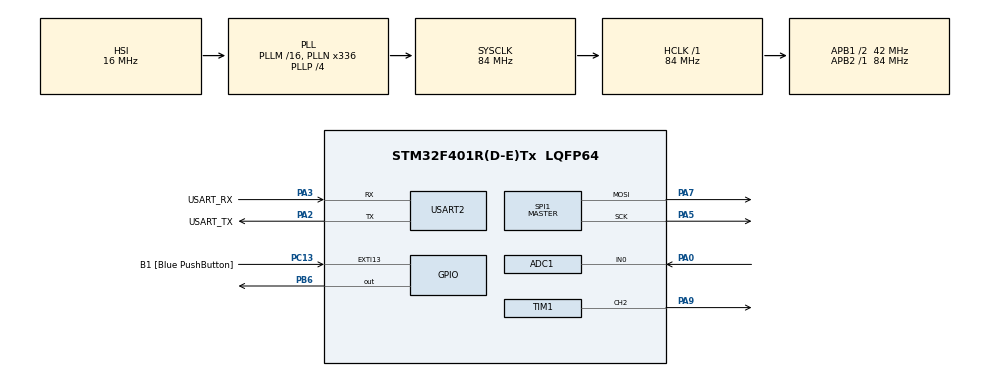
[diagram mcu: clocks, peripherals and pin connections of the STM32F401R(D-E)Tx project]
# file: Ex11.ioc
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ADC1.Channel-0\#ChannelRegularConversion=ADC_CHANNEL_0
ADC1.ContinuousConvMode=DISABLE
ADC1.DMAContinuousRequests=ENABLE
ADC1.ExternalTrigConv=ADC_EXTERNALTRIGCONV_T3_TRGO
ADC1.NbrOfConversionFlag=1
ADC1.Rank-0\#ChannelRegularConversion=1
ADC1.SamplingTime-0\#ChannelRegularConversion=ADC_SAMPLETIME_480CYCLES
ADC1.master=1
Dma.ADC1.0.Direction=DMA_PERIPH_TO_MEMORY
Dma.ADC1.0.FIFOMode=DMA_FIFOMODE_DISABLE
Dma.ADC1.0.Instance=DMA2_Stream0
Dma.ADC1.0.MemDataAlignment=DMA_MDATAALIGN_HALFWORD
Dma.ADC1.0.MemInc=DMA_MINC_ENABLE
Dma.ADC1.0.Mode=DMA_CIRCULAR
Dma.ADC1.0.PeriphDataAlignment=DMA_PDATAALIGN_HALFWORD
Dma.ADC1.0.PeriphInc=DMA_PINC_DISABLE
Dma.ADC1.0.Priority=DMA_PRIORITY_LOW
Dma.Request0=ADC1
Dma.Request1=SPI1_TX
Dma.SPI1_TX.1.Direction=DMA_MEMORY_TO_PERIPH
Dma.SPI1_TX.1.FIFOMode=DMA_FIFOMODE_DISABLE
Dma.SPI1_TX.1.Instance=DMA2_Stream3
Dma.SPI1_TX.1.MemDataAlignment=DMA_MDATAALIGN_BYTE
Dma.SPI1_TX.1.MemInc=DMA_MINC_ENABLE
Dma.SPI1_TX.1.Mode=DMA_NORMAL
Dma.SPI1_TX.1.PeriphDataAlignment=DMA_PDATAALIGN_BYTE
Dma.SPI1_TX.1.PeriphInc=DMA_PINC_DISABLE
Dma.SPI1_TX.1.Priority=DMA_PRIORITY_LOW
Mcu.Family=STM32F4
Mcu.Name=STM32F401R(D-E)Tx
Mcu.Package=LQFP64
NVIC.ADC_IRQn=true\:0\:0\:false\:false\:true\:true\:true\:true
NVIC.DMA2_Stream0_IRQn=true\:0\:0\:false\:false\:true\:false\:true\:true
NVIC.DMA2_Stream3_IRQn=true\:0\:0\:false\:false\:true\:false\:true\:true
NVIC.PriorityGroup=NVIC_PRIORITYGROUP_0
NVIC.SPI1_IRQn=true\:0\:0\:false\:false\:true\:true\:true\:true
NVIC.TIM1_TRG_COM_TIM11_IRQn=true\:0\:0\:false\:false\:true\:true\:true\:true
NVIC.TIM1_UP_TIM10_IRQn=true\:0\:0\:false\:false\:true\:true\:true\:true
PA0-WKUP.Signal=ADCx_IN0
PA13.GPIO_Label=TMS
PA13.Mode=Serial_Wire
PA13.Signal=SYS_JTMS-SWDIO
PA14.GPIO_Label=TCK
PA14.Mode=Serial_Wire
PA14.Signal=SYS_JTCK-SWCLK
PA2.GPIO_Label=USART_TX
PA2.GPIO_Mode=GPIO_MODE_AF_PP
PA2.GPIO_PuPd=GPIO_NOPULL
PA2.GPIO_Speed=GPIO_SPEED_FREQ_LOW
PA2.Mode=Asynchronous
PA2.Signal=USART2_TX
PA3.GPIO_Label=USART_RX
PA3.GPIO_Mode=GPIO_MODE_AF_PP
PA3.GPIO_PuPd=GPIO_NOPULL
PA3.GPIO_Speed=GPIO_SPEED_FREQ_LOW
PA3.Mode=Asynchronous
PA3.Signal=USART2_RX
PA5.Mode=TX_Only_Simplex_Unidirect_Master
PA5.Signal=SPI1_SCK
PA6.Signal=SPI1_MISO
PA7.Mode=TX_Only_Simplex_Unidirect_Master
PA7.Signal=SPI1_MOSI
PA9.Signal=S_TIM1_CH2
PB3.GPIO_Label=SWO
PB3.Signal=SYS_JTDO-SWO
PB6.Signal=GPIO_Output
PC13-ANTI_TAMP.GPIO_Label=B1 [Blue PushButton]
PC13-ANTI_TAMP.GPIO_ModeDefaultEXTI=GPIO_MODE_IT_FALLING
PC13-ANTI_TAMP.GPIO_PuPd=GPIO_NOPULL
PC13-ANTI_TAMP.Signal=GPXTI13
PC14-OSC32_IN.Mode=LSE-External-Oscillator
PC14-OSC32_IN.Signal=RCC_OSC32_IN
PC15-OSC32_OUT.Mode=LSE-External-Oscillator
PC15-OSC32_OUT.Signal=RCC_OSC32_OUT
PH0\ -\ OSC_IN.Mode=HSE-External-Clock-Source
PH0\ -\ OSC_IN.Signal=RCC_OSC_IN
PH1\ -\ OSC_OUT.Mode=HSE-External-Clock-Source
PH1\ -\ OSC_OUT.Signal=RCC_OSC_OUT
ProjectManager.HeapSize=0x200
ProjectManager.StackSize=0x400
ProjectManager.TargetToolchain=STM32CubeIDE
RCC.48MHZClocksFreq_Value=48000000
RCC.AHBFreq_Value=84000000
RCC.APB1CLKDivider=RCC_HCLK_DIV2
RCC.APB1Freq_Value=42000000
RCC.APB1TimFreq_Value=84000000
RCC.APB2Freq_Value=84000000
RCC.APB2TimFreq_Value=84000000
RCC.CortexFreq_Value=84000000
RCC.HCLKFreq_Value=84000000
RCC.HSE_VALUE=8000000
RCC.HSI_VALUE=16000000
RCC.PLLN=336
RCC.PLLP=RCC_PLLP_DIV4
RCC.PLLQ=7
RCC.SYSCLKFreq_VALUE=84000000
RCC.SYSCLKSource=RCC_SYSCLKSOURCE_PLLCLK
RCC.VCOOutputFreq_Value=336000000
SH.ADCx_IN0.0=ADC1_IN0,IN0
SH.S_TIM1_CH2.0=TIM1_CH2,PWM Generation2 CH2
SPI1.BaudRatePrescaler=SPI_BAUDRATEPRESCALER_4
SPI1.Direction=SPI_DIRECTION_2LINES
SPI1.Mode=SPI_MODE_MASTER
SPI1.VirtualType=VM_MASTER
TIM1.Channel-PWM\ Generation2\ CH2=TIM_CHANNEL_2
TIM1.Period=10000-1
TIM1.Prescaler=8400-1
TIM10.Period=4000-1
TIM10.Prescaler=84-1
TIM11.Period=10000-1
TIM11.Prescaler=8400-1
TIM3.Period=10-1
TIM3.Prescaler=8400-1
TIM3.TIM_MasterOutputTrigger=TIM_TRGO_UPDATE
USART2.VirtualMode=VM_ASYNC
VP_TIM10_VS_ClockSourceINT.Mode=Enable_Timer
VP_TIM11_VS_ClockSourceINT.Mode=Enable_Timer
VP_TIM1_VS_ClockSourceINT.Mode=Internal
VP_TIM3_VS_ClockSourceINT.Mode=Internal
board=NUCLEO-F401RE

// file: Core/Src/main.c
/* USER CODE BEGIN Header */
/**
  ******************************************************************************
  * @file           : main.c
  * @brief          : Main program body
  ******************************************************************************
  * @attention
  *
  * Copyright (c) 2023 STMicroelectronics.
  * All rights reserved.
  *
  * This software is licensed under terms that can be found in the LICENSE file
  * in the root directory of this software component.
  * If no LICENSE file comes with this software, it is provided AS-IS.
  *
  ******************************************************************************
  */
/* USER CODE END Header */
#include "main.h"

/* USER CODE BEGIN Includes */
#include <math.h>
/* USER CODE END Includes */

/* USER CODE BEGIN PD */
#define RCLK_PIN GPIOB, GPIO_PIN_6
/* USER CODE END PD */

ADC_HandleTypeDef hadc1;
DMA_HandleTypeDef hdma_adc1;

SPI_HandleTypeDef hspi1;
DMA_HandleTypeDef hdma_spi1_tx;

TIM_HandleTypeDef htim1;
TIM_HandleTypeDef htim3;
TIM_HandleTypeDef htim10;
TIM_HandleTypeDef htim11;

UART_HandleTypeDef huart2;

/* USER CODE BEGIN PV */
float mean=0;
uint16_t value;
float i=0;
float lux;

int column_index=0;
int j=0;
uint8_t matrix[5][2]={
		{0,16},
		{0,8},
		{0,4},
		{0,2},
		{0,1}
};
uint8_t matrix_L[5][2]={
	{127,16},
	{1,8},
	{1,4},
	{1,2},
	{1,1}
};
uint8_t matrix_D[5][2]={
	{127,16},
	{65,8},
	{65,4},
	{65,2},
	{62,1}
};
/* USER CODE END PV */

void SystemClock_Config(void);
static void MX_GPIO_Init(void);
static void MX_DMA_Init(void);
static void MX_USART2_UART_Init(void);
static void MX_ADC1_Init(void);
static void MX_TIM3_Init(void);
static void MX_TIM1_Init(void);
static void MX_SPI1_Init(void);
static void MX_TIM10_Init(void);
static void MX_TIM11_Init(void);
/* USER CODE BEGIN PFP */
void HAL_TIM_PeriodElapsedCallback(TIM_HandleTypeDef *htim){
	if(htim==&htim11){
		float temp = mean*3.3/4096;
		float ldr = (temp*100)/(3.3-temp);
		lux = 10*pow(100/ldr,1.25);
		char msg[100]="";
		sprintf(msg, "Lux: %f \r\n",lux);
		HAL_UART_Transmit(&huart2, msg, sizeof(msg), 1000);
		i=0;
		mean=0;
		if(lux<250){
			memcpy(matrix, matrix_D, sizeof(matrix));
		}else{
			memcpy(matrix, matrix_L, sizeof(matrix));
		}
	}
	if(htim==&htim10)
		HAL_SPI_Transmit_DMA(&hspi1, matrix[column_index], 2);
}
void HAL_ADC_ConvCpltCallback(ADC_HandleTypeDef* hadc){
	if(hadc == &hadc1){
		i++;
		mean=((mean*(i-1))+value)/i;
	}
}
void HAL_SPI_TxCpltCallback(SPI_HandleTypeDef *hspi){
	if(hspi==&hspi1){
		HAL_GPIO_WritePin(RCLK_PIN, GPIO_PIN_SET);
		if(++column_index>4)
			column_index=0;
		HAL_GPIO_WritePin(RCLK_PIN, GPIO_PIN_RESET);
	}
}

/* USER CODE END PFP */

int main(void)
{

  /* MCU Configuration--------------------------------------------------------*/

  /* Reset of all peripherals, Initializes the Flash interface and the Systick. */
  HAL_Init();

  /* Configure the system clock */
  SystemClock_Config();

  /* Initialize all configured peripherals */
  MX_GPIO_Init();
  MX_DMA_Init();
  MX_USART2_UART_Init();
  MX_ADC1_Init();
  MX_TIM3_Init();
  MX_TIM1_Init();
  MX_SPI1_Init();
  MX_TIM10_Init();
  MX_TIM11_Init();
  /* USER CODE BEGIN 2 */
  HAL_ADC_Start_DMA(&hadc1, &value, 1);
  HAL_TIM_Base_Start(&htim3);
  HAL_TIM_Base_Start_IT(&htim11);
  HAL_TIM_Base_Start_IT(&htim10);
  //HAL_TIM_Base_Start_IT(&htim1);
  /* USER CODE END 2 */

  /* Infinite loop */
  while (1)
  {

  }
}

void SystemClock_Config(void)
{
  RCC_OscInitTypeDef RCC_OscInitStruct = {0};
  RCC_ClkInitTypeDef RCC_ClkInitStruct = {0};

  /** Configure the main internal regulator output voltage
  */
  __HAL_RCC_PWR_CLK_ENABLE();
  __HAL_PWR_VOLTAGESCALING_CONFIG(PWR_REGULATOR_VOLTAGE_SCALE2);

  /** Initializes the RCC Oscillators according to the specified parameters
  * in the RCC_OscInitTypeDef structure.
  */
  RCC_OscInitStruct.OscillatorType = RCC_OSCILLATORTYPE_HSI;
  RCC_OscInitStruct.HSIState = RCC_HSI_ON;
  RCC_OscInitStruct.HSICalibrationValue = RCC_HSICALIBRATION_DEFAULT;
  RCC_OscInitStruct.PLL.PLLState = RCC_PLL_ON;
  RCC_OscInitStruct.PLL.PLLSource = RCC_PLLSOURCE_HSI;
  RCC_OscInitStruct.PLL.PLLM = 16;
  RCC_OscInitStruct.PLL.PLLN = 336;
  RCC_OscInitStruct.PLL.PLLP = RCC_PLLP_DIV4;
  RCC_OscInitStruct.PLL.PLLQ = 7;
  if (HAL_RCC_OscConfig(&RCC_OscInitStruct) != HAL_OK)
  {
    Error_Handler();
  }

  /** Initializes the CPU, AHB and APB buses clocks
  */
  RCC_ClkInitStruct.ClockType = RCC_CLOCKTYPE_HCLK|RCC_CLOCKTYPE_SYSCLK
                              |RCC_CLOCKTYPE_PCLK1|RCC_CLOCKTYPE_PCLK2;
  RCC_ClkInitStruct.SYSCLKSource = RCC_SYSCLKSOURCE_PLLCLK;
  RCC_ClkInitStruct.AHBCLKDivider = RCC_SYSCLK_DIV1;
  RCC_ClkInitStruct.APB1CLKDivider = RCC_HCLK_DIV2;
  RCC_ClkInitStruct.APB2CLKDivider = RCC_HCLK_DIV1;

  if (HAL_RCC_ClockConfig(&RCC_ClkInitStruct, FLASH_LATENCY_2) != HAL_OK)
  {
    Error_Handler();
  }
}

static void MX_ADC1_Init(void)
{

  ADC_ChannelConfTypeDef sConfig = {0};

  /** Configure the global features of the ADC (Clock, Resolution, Data Alignment and number of conversion)
  */
  hadc1.Instance = ADC1;
  hadc1.Init.ClockPrescaler = ADC_CLOCK_SYNC_PCLK_DIV4;
  hadc1.Init.Resolution = ADC_RESOLUTION_12B;
  hadc1.Init.ScanConvMode = DISABLE;
  hadc1.Init.ContinuousConvMode = DISABLE;
  hadc1.Init.DiscontinuousConvMode = DISABLE;
  hadc1.Init.ExternalTrigConvEdge = ADC_EXTERNALTRIGCONVEDGE_RISING;
  hadc1.Init.ExternalTrigConv = ADC_EXTERNALTRIGCONV_T3_TRGO;
  hadc1.Init.DataAlign = ADC_DATAALIGN_RIGHT;
  hadc1.Init.NbrOfConversion = 1;
  hadc1.Init.DMAContinuousRequests = ENABLE;
  hadc1.Init.EOCSelection = ADC_EOC_SINGLE_CONV;
  if (HAL_ADC_Init(&hadc1) != HAL_OK)
  {
    Error_Handler();
  }

  /** Configure for the selected ADC regular channel its corresponding rank in the sequencer and its sample time.
  */
  sConfig.Channel = ADC_CHANNEL_0;
  sConfig.Rank = 1;
  sConfig.SamplingTime = ADC_SAMPLETIME_480CYCLES;
  if (HAL_ADC_ConfigChannel(&hadc1, &sConfig) != HAL_OK)
  {
    Error_Handler();
  }

}

static void MX_SPI1_Init(void)
{

  /* SPI1 parameter configuration*/
  hspi1.Instance = SPI1;
  hspi1.Init.Mode = SPI_MODE_MASTER;
  hspi1.Init.Direction = SPI_DIRECTION_2LINES;
  hspi1.Init.DataSize = SPI_DATASIZE_8BIT;
  hspi1.Init.CLKPolarity = SPI_POLARITY_LOW;
  hspi1.Init.CLKPhase = SPI_PHASE_1EDGE;
  hspi1.Init.NSS = SPI_NSS_SOFT;
  hspi1.Init.BaudRatePrescaler = SPI_BAUDRATEPRESCALER_4;
  hspi1.Init.FirstBit = SPI_FIRSTBIT_MSB;
  hspi1.Init.TIMode = SPI_TIMODE_DISABLE;
  hspi1.Init.CRCCalculation = SPI_CRCCALCULATION_DISABLE;
  hspi1.Init.CRCPolynomial = 10;
  if (HAL_SPI_Init(&hspi1) != HAL_OK)
  {
    Error_Handler();
  }

}

static void MX_TIM1_Init(void)
{

  TIM_ClockConfigTypeDef sClockSourceConfig = {0};
  TIM_MasterConfigTypeDef sMasterConfig = {0};
  TIM_OC_InitTypeDef sConfigOC = {0};
  TIM_BreakDeadTimeConfigTypeDef sBreakDeadTimeConfig = {0};

  htim1.Instance = TIM1;
  htim1.Init.Prescaler = 8400-1;
  htim1.Init.CounterMode = TIM_COUNTERMODE_UP;
  htim1.Init.Period = 10000-1;
  htim1.Init.ClockDivision = TIM_CLOCKDIVISION_DIV1;
  htim1.Init.RepetitionCounter = 0;
  htim1.Init.AutoReloadPreload = TIM_AUTORELOAD_PRELOAD_DISABLE;
  if (HAL_TIM_Base_Init(&htim1) != HAL_OK)
  {
    Error_Handler();
  }
  sClockSourceConfig.ClockSource = TIM_CLOCKSOURCE_INTERNAL;
  if (HAL_TIM_ConfigClockSource(&htim1, &sClockSourceConfig) != HAL_OK)
  {
    Error_Handler();
  }
  if (HAL_TIM_PWM_Init(&htim1) != HAL_OK)
  {
    Error_Handler();
  }
  sMasterConfig.MasterOutputTrigger = TIM_TRGO_RESET;
  sMasterConfig.MasterSlaveMode = TIM_MASTERSLAVEMODE_DISABLE;
  if (HAL_TIMEx_MasterConfigSynchronization(&htim1, &sMasterConfig) != HAL_OK)
  {
    Error_Handler();
  }
  sConfigOC.OCMode = TIM_OCMODE_PWM1;
  sConfigOC.Pulse = 0;
  sConfigOC.OCPolarity = TIM_OCPOLARITY_HIGH;
  sConfigOC.OCNPolarity = TIM_OCNPOLARITY_HIGH;
  sConfigOC.OCFastMode = TIM_OCFAST_DISABLE;
  sConfigOC.OCIdleState = TIM_OCIDLESTATE_RESET;
  sConfigOC.OCNIdleState = TIM_OCNIDLESTATE_RESET;
  if (HAL_TIM_PWM_ConfigChannel(&htim1, &sConfigOC, TIM_CHANNEL_2) != HAL_OK)
  {
    Error_Handler();
  }
  sBreakDeadTimeConfig.OffStateRunMode = TIM_OSSR_DISABLE;
  sBreakDeadTimeConfig.OffStateIDLEMode = TIM_OSSI_DISABLE;
  sBreakDeadTimeConfig.LockLevel = TIM_LOCKLEVEL_OFF;
  sBreakDeadTimeConfig.DeadTime = 0;
  sBreakDeadTimeConfig.BreakState = TIM_BREAK_DISABLE;
  sBreakDeadTimeConfig.BreakPolarity = TIM_BREAKPOLARITY_HIGH;
  sBreakDeadTimeConfig.AutomaticOutput = TIM_AUTOMATICOUTPUT_DISABLE;
  if (HAL_TIMEx_ConfigBreakDeadTime(&htim1, &sBreakDeadTimeConfig) != HAL_OK)
  {
    Error_Handler();
  }
  HAL_TIM_MspPostInit(&htim1);

}

static void MX_TIM3_Init(void)
{

  TIM_ClockConfigTypeDef sClockSourceConfig = {0};
  TIM_MasterConfigTypeDef sMasterConfig = {0};

  htim3.Instance = TIM3;
  htim3.Init.Prescaler = 8400-1;
  htim3.Init.CounterMode = TIM_COUNTERMODE_UP;
  htim3.Init.Period = 10-1;
  htim3.Init.ClockDivision = TIM_CLOCKDIVISION_DIV1;
  htim3.Init.AutoReloadPreload = TIM_AUTORELOAD_PRELOAD_DISABLE;
  if (HAL_TIM_Base_Init(&htim3) != HAL_OK)
  {
    Error_Handler();
  }
  sClockSourceConfig.ClockSource = TIM_CLOCKSOURCE_INTERNAL;
  if (HAL_TIM_ConfigClockSource(&htim3, &sClockSourceConfig) != HAL_OK)
  {
    Error_Handler();
  }
  sMasterConfig.MasterOutputTrigger = TIM_TRGO_UPDATE;
  sMasterConfig.MasterSlaveMode = TIM_MASTERSLAVEMODE_DISABLE;
  if (HAL_TIMEx_MasterConfigSynchronization(&htim3, &sMasterConfig) != HAL_OK)
  {
    Error_Handler();
  }

}

static void MX_TIM10_Init(void)
{

  htim10.Instance = TIM10;
  htim10.Init.Prescaler = 84-1;
  htim10.Init.CounterMode = TIM_COUNTERMODE_UP;
  htim10.Init.Period = 4000-1;
  htim10.Init.ClockDivision = TIM_CLOCKDIVISION_DIV1;
  htim10.Init.AutoReloadPreload = TIM_AUTORELOAD_PRELOAD_DISABLE;
  if (HAL_TIM_Base_Init(&htim10) != HAL_OK)
  {
    Error_Handler();
  }

}

static void MX_TIM11_Init(void)
{

  htim11.Instance = TIM11;
  htim11.Init.Prescaler = 8400-1;
  htim11.Init.CounterMode = TIM_COUNTERMODE_UP;
  htim11.Init.Period = 10000-1;
  htim11.Init.ClockDivision = TIM_CLOCKDIVISION_DIV1;
  htim11.Init.AutoReloadPreload = TIM_AUTORELOAD_PRELOAD_DISABLE;
  if (HAL_TIM_Base_Init(&htim11) != HAL_OK)
  {
    Error_Handler();
  }

}

static void MX_USART2_UART_Init(void)
{

  huart2.Instance = USART2;
  huart2.Init.BaudRate = 115200;
  huart2.Init.WordLength = UART_WORDLENGTH_8B;
  huart2.Init.StopBits = UART_STOPBITS_1;
  huart2.Init.Parity = UART_PARITY_NONE;
  huart2.Init.Mode = UART_MODE_TX_RX;
  huart2.Init.HwFlowCtl = UART_HWCONTROL_NONE;
  huart2.Init.OverSampling = UART_OVERSAMPLING_16;
  if (HAL_UART_Init(&huart2) != HAL_OK)
  {
    Error_Handler();
  }

}

static void MX_DMA_Init(void)
{

  /* DMA controller clock enable */
  __HAL_RCC_DMA2_CLK_ENABLE();

  /* DMA interrupt init */
  /* DMA2_Stream0_IRQn interrupt configuration */
  HAL_NVIC_SetPriority(DMA2_Stream0_IRQn, 0, 0);
  HAL_NVIC_EnableIRQ(DMA2_Stream0_IRQn);
  /* DMA2_Stream3_IRQn interrupt configuration */
  HAL_NVIC_SetPriority(DMA2_Stream3_IRQn, 0, 0);
  HAL_NVIC_EnableIRQ(DMA2_Stream3_IRQn);

}

static void MX_GPIO_Init(void)
{
  GPIO_InitTypeDef GPIO_InitStruct = {0};

  /* GPIO Ports Clock Enable */
  __HAL_RCC_GPIOC_CLK_ENABLE();
  __HAL_RCC_GPIOH_CLK_ENABLE();
  __HAL_RCC_GPIOA_CLK_ENABLE();
  __HAL_RCC_GPIOB_CLK_ENABLE();

  /*Configure GPIO pin Output Level */
  HAL_GPIO_WritePin(GPIOB, GPIO_PIN_6, GPIO_PIN_RESET);

  /*Configure GPIO pin : B1_Pin */
  GPIO_InitStruct.Pin = B1_Pin;
  GPIO_InitStruct.Mode = GPIO_MODE_IT_FALLING;
  GPIO_InitStruct.Pull = GPIO_NOPULL;
  HAL_GPIO_Init(B1_GPIO_Port, &GPIO_InitStruct);

  /*Configure GPIO pin : PB6 */
  GPIO_InitStruct.Pin = GPIO_PIN_6;
  GPIO_InitStruct.Mode = GPIO_MODE_OUTPUT_PP;
  GPIO_InitStruct.Pull = GPIO_NOPULL;
  GPIO_InitStruct.Speed = GPIO_SPEED_FREQ_LOW;
  HAL_GPIO_Init(GPIOB, &GPIO_InitStruct);

}

void Error_Handler(void)
{
  __disable_irq();
  while (1)
  {
  }
}
